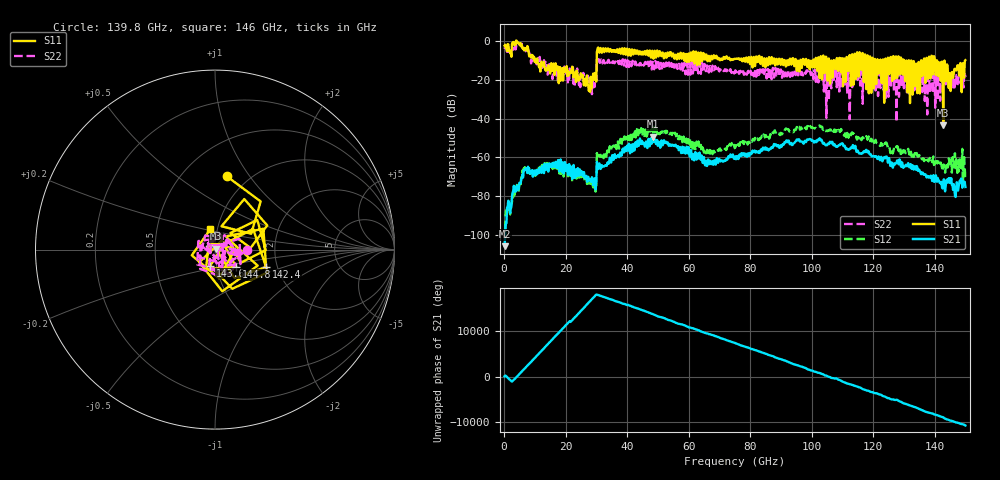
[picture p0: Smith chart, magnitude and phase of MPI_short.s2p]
!  2-Port S-parameters saved by WinCal
! VAR MeasName=S-Parameters (RAW_DATA) read from VNA (MS4647B)
! VAR MeasDate=09-Dec-21 16:30:25
! VAR NAME=Short
! VAR FILENAME=Short.S2P
! VAR DATE=09-Dec-21 16:30:25
! VAR PHYS_PORTS=1,2
! VAR ObjTypeName=DATASET
! VAR IndexType=Frequency
# Hz S RI R 50
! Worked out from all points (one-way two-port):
!   750 points, 200 MHz to 150 GHz, reference 50 ohm
!   highest |S21| = -49.32 dB at 48.4 GHz (marker M1); lowest = -106.0 dB at 200 MHz (marker M2)
!   lowest |S11| = -43.5 dB at 142.8 GHz (marker M3), VSWR 1.01, Z = 50.3 + j0.576 ohm
!   |S11| at or under -10 dB: 10.91 GHz to 30.14 GHz (19.24 GHz wide, 93.7 % of centre); 132.4 GHz to 135.6 GHz (3.176 GHz wide, 2.37 % of centre); 143.2 GHz to 149.9 GHz (6.65 GHz wide, 4.54 % of centre) (the widest 3 of 87)
!   |S22| runs from -41.7 to -1.2 dB; largest |S21 - S12| = 0.0095
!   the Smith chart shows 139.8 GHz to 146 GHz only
!   S11 on the Smith chart (normalised r, x): 139.8 GHz: 0.79, +0.78; 142.4 GHz: 1.75, -0.37; 143.6 GHz: 0.93, -0.17; 144.8 GHz: 1.24, -0.25; 146 GHz: 0.93, +0.21
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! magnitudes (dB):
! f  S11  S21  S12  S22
! 200 MHz  -2.2  -106.0  -96.5  -3.9
! 7 GHz  -4.2  -66.4  -66.0  -4.5
! 17.8 GHz  -21.6  -64.9  -66.0  -19.6
! 25.2 GHz  -18.3  -67.4  -68.8  -17.9
! 29.4 GHz  -19.5  -70.8  -72.5  -23.6
! 31 GHz  -5.8  -63.1  -59.5  -10.5
! 48.4 GHz  -6.4  -49.3  -47.1  -10.0
! 50.2 GHz  -7.8  -53.8  -46.0  -10.8
! 65.8 GHz  -6.7  -61.7  -57.3  -15.3
! 75.2 GHz  -9.0  -59.4  -54.8  -15.0
! 100.2 GHz  -13.4  -51.5  -44.4  -15.1
! 116 GHz  -11.7  -58.0  -50.3  -13.4
! 124 GHz  -8.9  -59.7  -52.4  -19.0
! 125.2 GHz  -17.0  -60.4  -54.3  -17.9
! 132.4 GHz  -9.8  -65.6  -58.4  -17.5
! 139.8 GHz  -7.6  -72.6  -64.0  -15.1
! 142.4 GHz  -10.4  -75.6  -65.6  -17.4
! 142.8 GHz  -43.5  -73.8  -64.3  -23.1
! 143.6 GHz  -20.6  -74.9  -65.3  -22.1
! 144.8 GHz  -16.4  -73.1  -62.2  -23.7
! 146 GHz  -18.7  -76.8  -61.2  -18.2
! 150 GHz  -9.7  -75.3  -72.1  -18.5
